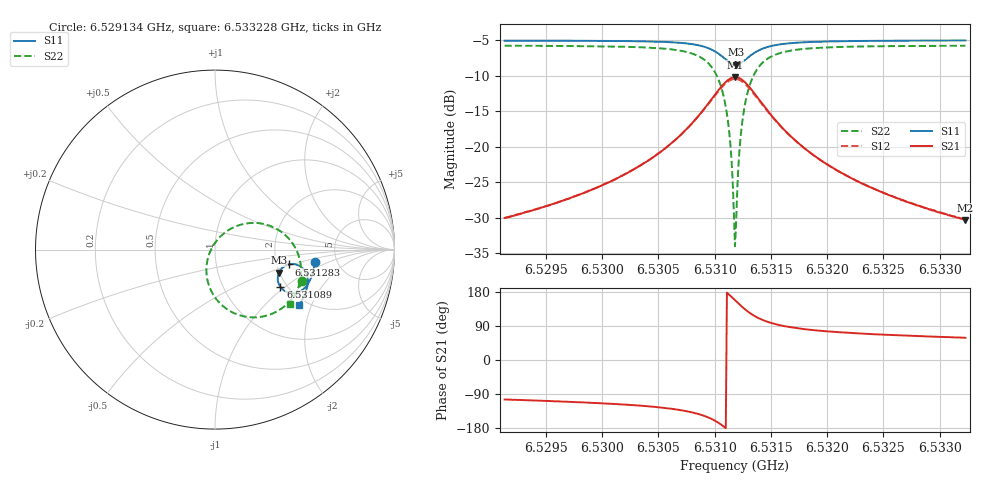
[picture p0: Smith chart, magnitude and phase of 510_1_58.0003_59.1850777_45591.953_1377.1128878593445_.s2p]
#  HZ  S  RI  R  50.00
! Rohde & Schwarz Vector Network Analyzer
! Rohde-Schwarz,ZNB20-2Port,1311601062101988,3.16
! Created: UTC 3/21/2024, 1:13:08 AM
! freq[Hz]  re:S11  im:S11  re:S21  im:S21  re:S12  im:S12  re:S22  im:S22
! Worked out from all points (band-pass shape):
!   401 points, 6.529134 GHz to 6.533228 GHz, reference 50 ohm
!   highest |S21| = -10.18 dB at 6.531181 GHz (marker M1); lowest = -30.3 dB at 6.533228 GHz (marker M2)
!   |S21| within 3 dB of the highest: 6.530978 GHz to 6.531387 GHz (409 kHz wide, 0.00626 % of centre)
!   lowest |S11| = -8.4 dB at 6.531191 GHz (marker M3), VSWR 2.22, Z = 99.3 - j29.9 ohm
!   |S11| at or under -10 dB: nowhere
!   |S22| runs from -34.0 to -5.7 dB; largest |S21 - S12| = 0.012
!   S11 on the Smith chart (normalised r, x): 6.529134 GHz: 3.40, -0.68; 6.531089 GHz: 1.84, -0.93; 6.531283 GHz: 2.32, -0.47; 6.533228 GHz: 1.82, -1.64
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6.5291341e9  0.5565 -0.069  -0.00775 -0.0304  -0.00824 -0.0303  0.4868 -0.1731
6.5298198e9  0.5455 -0.1258  -0.0173 -0.0432  -0.0182 -0.043  0.4554 -0.2367
6.5305054e9  0.5162 -0.1939  -0.0516 -0.0741  -0.0535 -0.0726  0.3733 -0.3265
6.5307408e9  0.4885 -0.2235  -0.0916 -0.0931  -0.0944 -0.0901  0.2919 -0.3665
6.5309148e9  0.4444 -0.242  -0.1603 -0.099  -0.1626 -0.0927  0.1651 -0.3727
6.5310171e9  0.3993 -0.236  -0.2302 -0.072  -0.2292 -0.0625  0.0467 -0.3166
6.5310887e9  0.3645 -0.2078  -0.2813 -0.0127  -0.2755 -0.00293  -0.0306 -0.2084
6.5311297e9  0.3518 -0.1795  -0.2972 0.0407  -0.288 0.0487  -0.048 -0.117
6.5311706e9  0.3511 -0.1457  -0.292 0.1017  -0.2811 0.1061  -0.0296 -0.0174
6.5311809e9  0.3533 -0.1372  -0.2869 0.1167  -0.2758 0.1202  -0.0188 0.00633
6.5311911e9  0.3563 -0.129  -0.2805 0.1314  -0.2694 0.1334  -0.00581 0.0288
6.5312013e9  0.3601 -0.1213  -0.2724 0.1449  -0.2615 0.1462  0.00953 0.0498
6.5312218e9  0.37 -0.1074  -0.253 0.1692  -0.2427 0.1686  0.0451 0.0865
6.531232e9  0.3761 -0.1015  -0.242 0.1794  -0.2321 0.1783  0.0647 0.1016
6.5312525e9  0.389 -0.0918  -0.218 0.1961  -0.2094 0.1938  0.1068 0.1255
6.5312832e9  0.4097 -0.083  -0.1805 0.2115  -0.1738 0.2082  0.1713 0.145
6.5313548e9  0.4535 -0.0835  -0.1042 0.2131  -0.1008 0.2098  0.2995 0.1349
6.5314572e9  0.491 -0.1065  -0.0388 0.181  -0.0373 0.1792  0.4061 0.0667
6.5316107e9  0.5123 -0.1432  0.000181 0.1335  0.00138 0.1328  0.4647 -0.0297
6.5318665e9  0.5168 -0.1871  0.0165 0.0869  0.0176 0.0867  0.4791 -0.1279
6.5325522e9  0.4973 -0.2579  0.0185 0.0414  0.0191 0.0414  0.4508 -0.2448
6.5332276e9  0.4707 -0.3083  0.0158 0.026  0.0164 0.0259  0.4161 -0.3053
